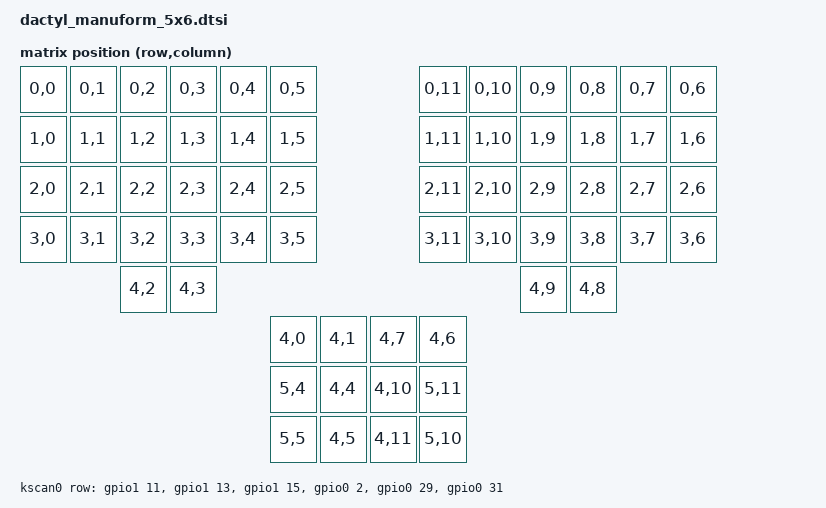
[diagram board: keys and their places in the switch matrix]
#include <dt-bindings/zmk/matrix_transform.h>
#include "dactyl_manuform_5x6-layouts.dtsi"
#include <zephyr/dt-bindings/spi/spi.h>
#include <zephyr/dt-bindings/input/input-event-codes.h>

/* https://forum.seeedstudio.com/t/xiao-nrf52840-plus/294262/7
*/
nice_view_spi: &spi0 { };

/ {
    trackball_listener {
        compatible = "zmk,input-listener";
        device = <&trackball>;
        input-processors = <&zip_temp_layer 4 400>; // auto-mouse temp layer for 0.4 secs
    };

    /omit-if-no-ref/ zip_temp_layer: zip_temp_layer {
        compatible = "zmk,input-processor-temp-layer";
        #input-processor-cells = <2>;
        require-prior-idle-ms = <500>; // Only activate if no key presses for 0.5 seconds
    };
};

&pinctrl {
    spi0_default: spi0_default {
        group1 {
            psels = <NRF_PSEL(SPIM_SCK, 0, 17)>,  /* P0.17 */
                    <NRF_PSEL(SPIM_MOSI, 0, 22)>, /* P0.22 */
                    <NRF_PSEL(SPIM_MISO, 0, 20)>; /* P0.20 */
        };
    };

    spi0_sleep: spi0_sleep {
        group1 {
            psels = <NRF_PSEL(SPIM_SCK, 0, 17)>,
                    <NRF_PSEL(SPIM_MOSI, 0, 22)>,
                    <NRF_PSEL(SPIM_MISO, 0, 20)>;
            low-power-enable;
        };
    };
};

&spi0 {
    status = "okay";
    pinctrl-0 = <&spi0_default>;
    pinctrl-1 = <&spi0_sleep>;
    pinctrl-names = "default", "sleep";
    label = "spi0";
    
    /* Chip Select on P0.24 - display, P1.00 - PMW3389 */
    cs-gpios = <&gpio0 24 GPIO_ACTIVE_HIGH>   /* Index 0: Display */
            , <&gpio1 00 GPIO_ACTIVE_LOW>;    /* Index 1: Trackball, ative_low is typical for pixart */

    trackball: trackball@1 {
		status = "okay";
		compatible = "pixart,pmw33xx";
 		reg = <1>;
		spi-max-frequency = <1000000>; // | SPI_CPOL | SPI_CPHA
		// pmw33xx driver parameters
		motswk-gpios = <&gpio0 11 (GPIO_ACTIVE_LOW | GPIO_PULL_UP)>;
        //reset-gpios = <&gpio0 24 GPIO_ACTIVE_LOW| GPIO_PULL_UP>; // SPI Mode 3, specific for pmw3360
        //spi-cpol;
        //spi-cpha;
		cpi = <600>;
	};
};

// virtual usb logging https://zmk.dev/docs/development/usb-logging#adding-usb-logging-to-a-board
&zephyr_udc0 {
    status = "okay";
    cdc_acm_uart0: cdc_acm_uart0 {
        compatible = "zephyr,cdc-acm-uart";
    };
};

/ {
     chosen {
        zmk,battery = &vbatt;
        zmk,kscan = &kscan0;
        zmk,matrix_transform = &default_transform;
        zephyr,console = &cdc_acm_uart0;
        zephyr,shell-uart = &cdc_acm_uart0;
    };
    vbatt: vbatt {
        compatible = "zmk,battery-nrf-vddh";
    };
    default_transform: keymap_transform_0 {
        compatible = "zmk,matrix-transform";
        columns = <12>;
        rows = <6>;
// | SW1  | SW2  | SW3  | SW4  | SW5  | SW6  |                 | SW6 | SW5  | SW4  | SW3  | SW2  | SW1 |
// | SW7  | SW8  | SW9  | SW10 | SW11 | SW12 |                 | SW12 | SW11 | SW10 | SW9 | SW8 | SW7 |
// | SW13 | SW14 | SW15 | SW16 | SW17 | SW18 |                 | SW18 | SW17 | SW16 | SW15 | SW14 | SW13 |
// | SW19 | SW20 | SW21 | SW22 | SW23 | SW24 |                 | SW24 | SW23 | SW22 | SW21 | SW20 | SW19 |
//               | SW25 | SW26 |                                             | SW26 | SW25 |
//                             | SW27 | SW28 |                 | SW28 | SW27 |
//                                    | SW29 | SW30 |   | SW30 | SW29 |
//                                    | SW31 | SW32 |   | SW32 | SW31 |
        map = <
RC(0,0) RC(0,1) RC(0,2) RC(0,3) RC(0,4) RC(0,5)                   RC(0,11) RC(0,10) RC(0,9) RC(0,8) RC(0,7) RC(0,6)
RC(1,0) RC(1,1) RC(1,2) RC(1,3) RC(1,4) RC(1,5)                   RC(1,11) RC(1,10) RC(1,9) RC(1,8) RC(1,7) RC(1,6)
RC(2,0) RC(2,1) RC(2,2) RC(2,3) RC(2,4) RC(2,5)                   RC(2,11) RC(2,10) RC(2,9) RC(2,8) RC(2,7) RC(2,6)
RC(3,0) RC(3,1) RC(3,2) RC(3,3) RC(3,4) RC(3,5)                   RC(3,11) RC(3,10) RC(3,9) RC(3,8) RC(3,7) RC(3,6)
                RC(4,2) RC(4,3)                                                     RC(4,9) RC(4,8)
                                        RC(4,0) RC(4,1)    RC(4,7) RC(4,6)
                                        RC(5,4) RC(4,4)    RC(4,10) RC(5,11)
                                        RC(5,5) RC(4,5)    RC(4,11) RC(5,10)
        >;
    };

    kscan0: kscan {
        compatible = "zmk,kscan-gpio-matrix";
        diode-direction = "col2row";
        wakeup-source;
        row-gpios
            = <&gpio1 11 (GPIO_ACTIVE_HIGH | GPIO_PULL_DOWN)>
            , <&gpio1 13 (GPIO_ACTIVE_HIGH | GPIO_PULL_DOWN)>
            , <&gpio1 15 (GPIO_ACTIVE_HIGH | GPIO_PULL_DOWN)>
            , <&gpio0  2 (GPIO_ACTIVE_HIGH | GPIO_PULL_DOWN)>
            , <&gpio0 29 (GPIO_ACTIVE_HIGH | GPIO_PULL_DOWN)>
            , <&gpio0 31 (GPIO_ACTIVE_HIGH | GPIO_PULL_DOWN)>
            ;
    };
};

&physical_layout0 {
    kscan = <&kscan0>;
    transform = <&default_transform>;
};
